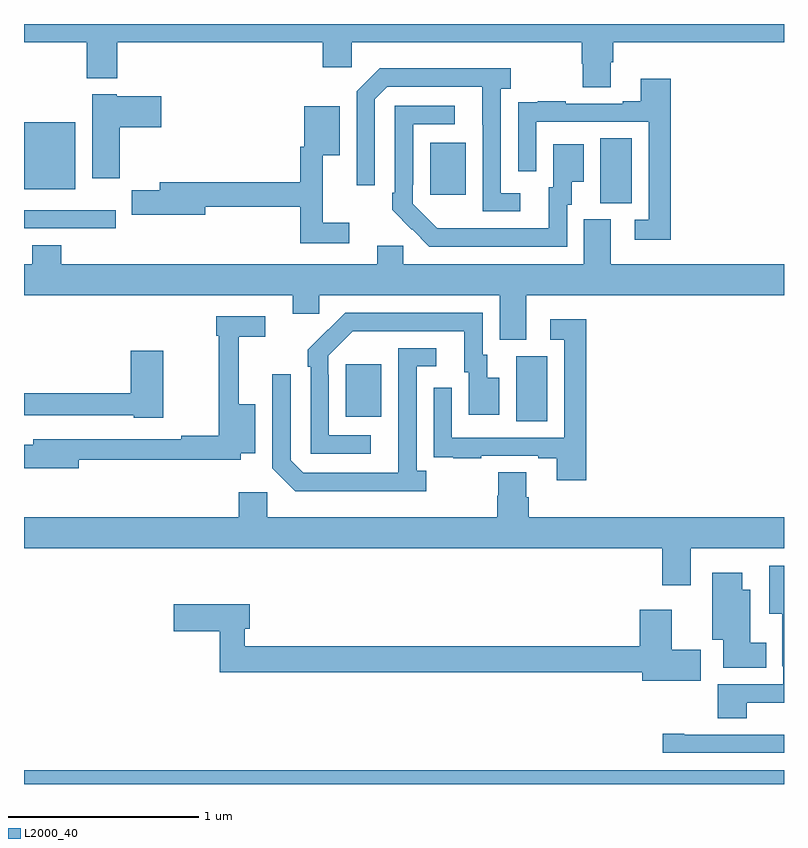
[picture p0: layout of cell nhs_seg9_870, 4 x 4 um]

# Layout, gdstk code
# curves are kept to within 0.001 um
import gdstk
lib = gdstk.Library(unit=1e-6, precision=1e-09)
def R(c, l, rs):  # rectangles x0, y0, x1, y1
    for r in rs: c.add(gdstk.rectangle(r[:2], r[2:], *l))
def P(c, l, *ps):  # polygons
    for p in ps: c.add(gdstk.Polygon(p, *l))
L2000_40 = (2000, 40)

nhs_seg9_870 = lib.new_cell('nhs_seg9_870')
R(nhs_seg9_870, L2000_40, [(157,1208.5,161,1208.572), (159.59,1210.408,159.754,1210.752), (158.693,1210.433,158.881,1210.708), (157,1211.424,157.483,1211.52), (160.034,1211.557,160.198,1211.9), (159.137,1211.601,159.325,1211.875), (157,1211.63,157.27,1211.983)])
P(nhs_seg9_870, L2000_40, [(160.087,1212.298),(160.1,1212.298),(160.1,1212.404),(161,1212.404),(161,1212.5),(157,1212.5),(157,1212.404),(157.33,1212.404),(157.33,1212.215),(157.49,1212.215),(157.49,1212.404),(158.573,1212.404),(158.573,1212.273),(158.724,1212.273),(158.724,1212.404),(159.935,1212.404),(159.935,1212.291),(159.94,1212.291),(159.94,1212.166),(160.087,1212.166)],
  [(159.613,1211.61),(159.51,1211.61),(159.51,1212.158),(159.562,1212.158),(159.562,1212.268),(158.872,1212.268),(158.751,1212.147),(158.751,1211.652),(158.847,1211.652),(158.847,1212.105),(158.913,1212.171),(159.413,1212.171),(159.414,1211.514),(159.613,1211.514)],
  [(160.403,1212.211),(160.247,1212.211),(160.247,1212.094),(160.151,1212.094),(160.151,1212.081),(159.851,1212.081),(159.851,1212.094),(159.703,1212.094),(159.703,1212.087),(159.601,1212.087),(159.601,1211.978),(159.6,1211.978),(159.6,1211.724),(159.696,1211.724),(159.696,1211.985),(160.287,1211.985),(160.287,1211.469),(160.215,1211.469),(160.215,1211.364),(160.403,1211.364)],
  [(157.505,1211.956),(157.723,1211.956),(157.723,1212.121),(157.488,1212.121),(157.488,1212.13),(157.358,1212.13),(157.358,1211.688),(157.505,1211.688)],
  [(159.858,1211.55),(159.883,1211.55),(159.883,1211.669),(159.946,1211.669),(159.946,1211.866),(159.785,1211.866),(159.785,1211.64),(159.761,1211.64),(159.761,1211.424),(159.174,1211.425),(159.045,1211.553),(159.045,1211.653),(159.048,1211.653),(159.048,1211.973),(159.268,1211.973),(159.268,1212.069),(158.952,1212.069),(158.952,1211.611),(158.937,1211.611),(158.937,1211.523),(159.134,1211.328),(159.858,1211.328)],
  [(158.713,1211.455),(158.573,1211.455),(158.573,1211.81),(158.662,1211.81),(158.662,1212.067),(158.474,1212.067),(158.474,1211.853),(158.455,1211.853),(158.455,1211.666),(157.715,1211.666),(157.715,1211.625),(157.568,1211.625),(157.568,1211.495),(157.954,1211.495),(157.954,1211.538),(158.455,1211.538),(158.455,1211.346),(158.713,1211.346)],
  [(159.643,1211.072),(161,1211.072),(161,1211.236),(160.087,1211.236),(160.087,1211.472),(159.947,1211.472),(159.947,1211.236),(158.997,1211.236),(158.997,1211.334),(158.858,1211.334),(158.858,1211.236),(157.196,1211.236),(157.196,1211.335),(157.043,1211.335),(157.043,1211.236),(157,1211.236),(157,1211.072),(158.414,1211.072),(158.414,1210.974),(158.553,1210.974),(158.553,1211.072),(159.503,1211.072),(159.503,1210.837),(159.643,1210.837)],
  [(158.824,1210.335),(158.604,1210.335),(158.604,1210.655),(158.601,1210.655),(158.601,1210.755),(158.73,1210.884),(159.317,1210.884),(159.317,1210.668),(159.341,1210.668),(159.341,1210.443),(159.502,1210.443),(159.502,1210.639),(159.439,1210.639),(159.439,1210.758),(159.414,1210.758),(159.414,1210.98),(158.69,1210.98),(158.493,1210.785),(158.493,1210.697),(158.508,1210.697),(158.508,1210.239),(158.824,1210.239)],
  [(157.288,1210.206),(158.142,1210.206),(158.142,1210.241),(158.218,1210.241),(158.218,1210.498),(158.129,1210.498),(158.129,1210.854),(158.269,1210.854),(158.269,1210.962),(158.011,1210.962),(158.011,1210.859),(158.026,1210.859),(158.026,1210.334),(157.828,1210.334),(157.828,1210.314),(157.049,1210.314),(157.049,1210.285),(157,1210.285),(157,1210.163),(157.288,1210.163)],
  [(159.959,1210.945),(159.771,1210.945),(159.771,1210.839),(159.843,1210.839),(159.843,1210.323),(159.252,1210.323),(159.252,1210.585),(159.156,1210.585),(159.156,1210.33),(159.157,1210.33),(159.157,1210.221),(159.259,1210.221),(159.259,1210.215),(159.407,1210.215),(159.407,1210.227),(159.707,1210.227),(159.707,1210.215),(159.803,1210.215),(159.803,1210.098),(159.959,1210.098)],
  [(159.118,1210.15),(159.066,1210.15),(159.066,1210.698),(159.169,1210.698),(159.169,1210.794),(158.97,1210.794),(158.969,1210.137),(158.469,1210.137),(158.403,1210.203),(158.403,1210.657),(158.307,1210.657),(158.307,1210.161),(158.428,1210.04),(159.118,1210.04)],
  [(157.732,1210.78),(157.562,1210.78),(157.562,1210.556),(157,1210.556),(157,1210.44),(157.578,1210.44),(157.578,1210.427),(157.732,1210.427)],
  [(160.51,1209.74),(161,1209.74),(161,1209.904),(159.656,1209.904),(159.656,1210.01),(159.643,1210.01),(159.643,1210.142),(159.496,1210.142),(159.496,1210.017),(159.491,1210.017),(159.491,1209.904),(158.28,1209.904),(158.28,1210.036),(158.129,1210.036),(158.129,1209.904),(157,1209.904),(157,1209.74),(160.358,1209.74),(160.358,1209.546),(160.51,1209.546)],
  [(160.804,1208.928),(161,1208.928),(161,1209.649),(160.922,1209.649),(160.922,1209.395),(160.991,1209.395),(160.991,1209.121),(160.995,1209.121),(160.995,1209.024),(160.652,1209.024),(160.652,1208.845),(160.804,1208.845)],
  [(160.906,1209.244),(160.822,1209.244),(160.822,1209.523),(160.78,1209.523),(160.78,1209.613),(160.622,1209.613),(160.622,1209.26),(160.679,1209.26),(160.679,1209.113),(160.906,1209.113)],
  [(160.561,1209.207),(160.408,1209.207),(160.408,1209.418),(160.241,1209.418),(160.241,1209.224),(158.161,1209.224),(158.161,1209.317),(158.189,1209.317),(158.189,1209.447),(157.788,1209.447),(157.788,1209.305),(158.029,1209.305),(158.029,1209.088),(160.253,1209.088),(160.253,1209.044),(160.561,1209.044)],
  [(161,1208.76),(160.474,1208.76),(160.474,1208.765),(160.362,1208.765),(160.362,1208.664),(161,1208.664)])

lib.write_gds('nhs_seg9_870.gds')
